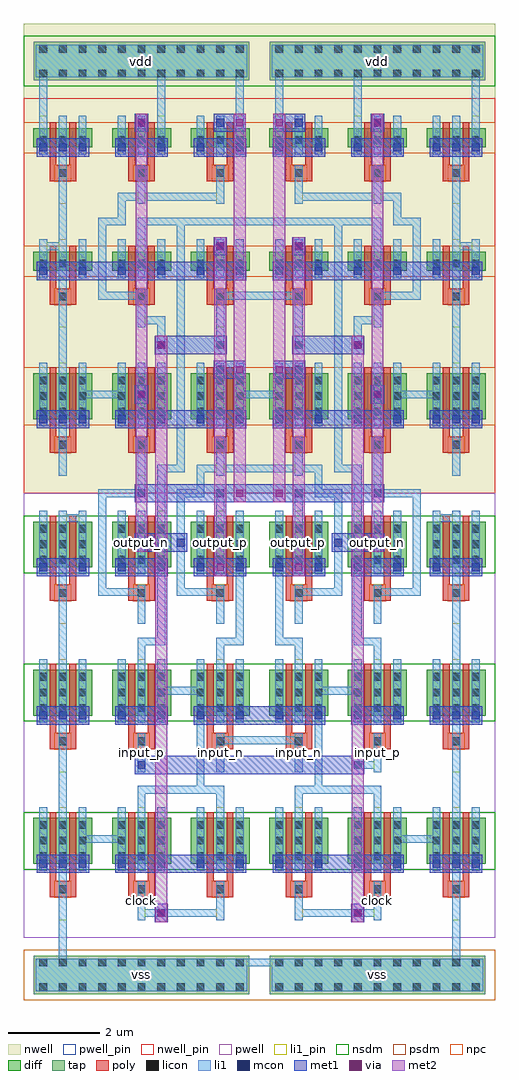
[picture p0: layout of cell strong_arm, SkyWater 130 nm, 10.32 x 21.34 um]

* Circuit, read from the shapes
.subckt strong_arm clock input_n input_p output_n output_p vdd vss
XM1 vss vss vss vss sky130_fd_pr__nfet_01v8 w=1 l=0.15 m=12
XM2 strong_arm_half_0/tail_d clock vss vss sky130_fd_pr__nfet_01v8 w=1 l=0.15 m=8
XM3 strong_arm_half_0/input_d_n input_p strong_arm_half_0/tail_d vss sky130_fd_pr__nfet_01v8 w=1 l=0.15 m=4
XM4 output_n output_p strong_arm_half_0/input_d_n vss sky130_fd_pr__nfet_01v8 w=1 l=0.15 m=4
XM5 strong_arm_half_0/input_d_p input_n strong_arm_half_0/tail_d vss sky130_fd_pr__nfet_01v8 w=1 l=0.15 m=2
XM6 output_p output_n strong_arm_half_0/input_d_p vss sky130_fd_pr__nfet_01v8 w=1 l=0.15 m=2
XM7 strong_arm_half_1/input_d_p input_n strong_arm_half_0/tail_d vss sky130_fd_pr__nfet_01v8 w=1 l=0.15 m=2
XM8 output_p output_n strong_arm_half_1/input_d_p vss sky130_fd_pr__nfet_01v8 w=1 l=0.15 m=2
XM9 vdd vdd vdd vdd sky130_fd_pr__pfet_01v8 w=1 l=0.15 m=4
XM10 vdd vdd vdd vdd sky130_fd_pr__pfet_01v8 w=0.42 l=0.15 m=8
XM11 output_n output_p vdd vdd sky130_fd_pr__pfet_01v8 w=1 l=0.15 m=4
XM12 strong_arm_half_0/input_d_n clock vdd vdd sky130_fd_pr__pfet_01v8 w=0.42 l=0.15 m=4
XM13 output_n clock vdd vdd sky130_fd_pr__pfet_01v8 w=0.42 l=0.15 m=4
XM14 output_p output_n vdd vdd sky130_fd_pr__pfet_01v8 w=1 l=0.15 m=4
XM15 strong_arm_half_0/input_d_p clock vdd vdd sky130_fd_pr__pfet_01v8 w=0.42 l=0.15 m=2
XM16 output_p clock vdd vdd sky130_fd_pr__pfet_01v8 w=0.42 l=0.15 m=4
XM17 strong_arm_half_1/input_d_p clock vdd vdd sky130_fd_pr__pfet_01v8 w=0.42 l=0.15 m=2
.ends

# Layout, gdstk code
from math import pi, radians
import gdstk
lib = gdstk.Library(unit=1e-6, precision=1e-09)
def R(c, l, rs):  # rectangles x0, y0, x1, y1
    for r in rs: c.add(gdstk.rectangle(r[:2], r[2:], *l))
def A(c, l, x, y, w, h, nx, ny, dx, dy):  # array of equal rectangles
    R(c, l, [(x+i*dx, y+j*dy, x+i*dx+w, y+j*dy+h) for i in range(nx) for j in range(ny)])
nwell_pin = (64, 16)
nwell = (64, 20)
pwell = (64, 44)
diff = (65, 20)
tap = (65, 44)
poly = (66, 20)
licon = (66, 44)
li1_pin = (67, 16)
li1 = (67, 20)
mcon = (67, 44)
met1 = (68, 20)
via = (68, 44)
met2 = (69, 20)
nsdm = (93, 44)
psdm = (94, 20)
npc = (95, 20)
pwell_pin = (122, 16)

ptap_tile_x11_y2 = lib.new_cell('ptap_tile_x11_y2')
R(ptap_tile_x11_y2, tap, [(-0.205,-0.15,4.505,0.69)])
A(ptap_tile_x11_y2, licon, -0.085, -0.085, 0.17, 0.17, 11, 2, 0.43, 0.54)
R(ptap_tile_x11_y2, li1_pin, [(-0.165,-0.085,4.465,0.625)])
R(ptap_tile_x11_y2, li1, [(-0.165,-0.085,4.465,0.625)])
R(ptap_tile_x11_y2, psdm, [(-0.43,-0.28,4.73,0.82)])
ptap_tile_x11_y2.add(gdstk.Label('vnb', (2.15,0.27), layer=67, texttype=5))

ptap_tile = lib.new_cell('ptap_tile')
R(ptap_tile, li1_pin, [(-0.165,-0.085,4.465,0.625)])
ptap_tile.add(gdstk.Reference(ptap_tile_x11_y2, (0,0)))
ptap_tile.add(gdstk.Label('x', (2.15,0.27), layer=67, texttype=5))

ntap_tile_x11_y2 = lib.new_cell('ntap_tile_x11_y2')
R(ntap_tile_x11_y2, nwell, [(-0.43,-0.54,4.73,1.08)])
R(ntap_tile_x11_y2, tap, [(-0.205,-0.15,4.505,0.69)])
A(ntap_tile_x11_y2, licon, -0.085, -0.085, 0.17, 0.17, 11, 2, 0.43, 0.54)
R(ntap_tile_x11_y2, li1_pin, [(-0.165,-0.085,4.465,0.625)])
R(ntap_tile_x11_y2, li1, [(-0.165,-0.085,4.465,0.625)])
R(ntap_tile_x11_y2, nsdm, [(-0.43,-0.28,4.73,0.82)])
ntap_tile_x11_y2.add(gdstk.Label('vpb', (2.15,0.27), layer=67, texttype=5))

ntap_tile = lib.new_cell('ntap_tile')
R(ntap_tile, li1_pin, [(-0.165,-0.085,4.465,0.625)])
ntap_tile.add(gdstk.Reference(ntap_tile_x11_y2, (0,0)))
ntap_tile.add(gdstk.Label('x', (2.15,0.27), layer=67, texttype=5))

nmos_tile_w1000_l150_nf2 = lib.new_cell('nmos_tile_w1000_l150_nf2')
R(nmos_tile_w1000_l150_nf2, pwell, [(0,-1.62,1.72,1.62)])
R(nmos_tile_w1000_l150_nf2, diff, [(0.215,0,1.505,1)])
R(nmos_tile_w1000_l150_nf2, poly, [(0.57,-0.735,0.945,-0.385), (0.57,-0.735,0.72,1.13), (0.775,-0.735,1.15,-0.385), (1,-0.735,1.15,1.13)])
A(nmos_tile_w1000_l150_nf2, licon, 0.345, 0.08, 0.17, 0.17, 3, 3, 0.43, 0.34)
R(nmos_tile_w1000_l150_nf2, licon, [(0.775,-0.645,0.945,-0.475)])
A(nmos_tile_w1000_l150_nf2, li1_pin, 0.345, -0.155, 0.17, 1.39, 3, 1, 0.43, 0)
R(nmos_tile_w1000_l150_nf2, li1_pin, [(0.775,-1.235,0.945,-0.385)])
A(nmos_tile_w1000_l150_nf2, li1, 0.345, -0.155, 0.17, 1.39, 3, 1, 0.43, 0)
R(nmos_tile_w1000_l150_nf2, li1, [(0.775,-1.235,0.945,-0.385)])
R(nmos_tile_w1000_l150_nf2, nsdm, [(0,-0.13,1.72,1.13)])
R(nmos_tile_w1000_l150_nf2, npc, [(0.675,-0.745,1.045,-0.375)])
R(nmos_tile_w1000_l150_nf2, pwell_pin, [(0,-1.62,1.72,1.62)])
nmos_tile_w1000_l150_nf2.add(gdstk.Label('sd_0', (0.43,0.54), layer=67, texttype=5))
nmos_tile_w1000_l150_nf2.add(gdstk.Label('sd_1', (0.86,0.54), layer=67, texttype=5))
nmos_tile_w1000_l150_nf2.add(gdstk.Label('sd_2', (1.29,0.54), layer=67, texttype=5))
nmos_tile_w1000_l150_nf2.add(gdstk.Label('g_0', (0.86,-0.81), layer=67, texttype=5))
nmos_tile_w1000_l150_nf2.add(gdstk.Label('b', (0.86,0), layer=64, texttype=59))

two_finger_mos_tile = lib.new_cell('two_finger_mos_tile')
A(two_finger_mos_tile, li1_pin, 0.345, -0.155, 0.17, 1.39, 3, 1, 0.43, 0)
R(two_finger_mos_tile, li1_pin, [(0.775,-1.235,0.945,-0.385)])
R(two_finger_mos_tile, li1, [(0.345,-0.085,0.515,0.085), (0.345,-0.085,0.515,0.085), (1.205,-0.085,1.375,0.085), (1.205,-0.085,1.375,0.085)])
R(two_finger_mos_tile, mcon, [(0.345,-0.085,0.515,0.085), (1.205,-0.085,1.375,0.085)])
R(two_finger_mos_tile, met1, [(0.285,-0.2,0.575,0.2), (0.345,-0.2,0.945,0.2), (0.775,-0.2,1.375,0.2), (1.145,-0.2,1.435,0.2)])
R(two_finger_mos_tile, pwell_pin, [(0,-1.62,1.72,1.62)])
two_finger_mos_tile.add(gdstk.Reference(nmos_tile_w1000_l150_nf2, (0,0)))
two_finger_mos_tile.add(gdstk.Label('d', (0.86,0.54), layer=67, texttype=5))
two_finger_mos_tile.add(gdstk.Label('g', (0.86,-0.81), layer=67, texttype=5))
two_finger_mos_tile.add(gdstk.Label('s', (1.29,0.54), layer=67, texttype=5))
two_finger_mos_tile.add(gdstk.Label('s', (0.43,0.54), layer=67, texttype=5))
two_finger_mos_tile.add(gdstk.Label('b', (0.86,0), layer=64, texttype=59))

pmos_tile_w1000_l150_nf2 = lib.new_cell('pmos_tile_w1000_l150_nf2')
R(pmos_tile_w1000_l150_nf2, nwell_pin, [(0,-1.62,1.72,1.62)])
R(pmos_tile_w1000_l150_nf2, nwell, [(0,-1.62,1.72,1.62)])
R(pmos_tile_w1000_l150_nf2, diff, [(0.215,0,1.505,1)])
R(pmos_tile_w1000_l150_nf2, poly, [(0.57,-0.735,0.945,-0.385), (0.57,-0.735,0.72,1.13), (0.775,-0.735,1.15,-0.385), (1,-0.735,1.15,1.13)])
A(pmos_tile_w1000_l150_nf2, licon, 0.345, 0.08, 0.17, 0.17, 3, 3, 0.43, 0.34)
R(pmos_tile_w1000_l150_nf2, licon, [(0.775,-0.645,0.945,-0.475)])
A(pmos_tile_w1000_l150_nf2, li1_pin, 0.345, -0.155, 0.17, 1.39, 3, 1, 0.43, 0)
R(pmos_tile_w1000_l150_nf2, li1_pin, [(0.775,-1.235,0.945,-0.385)])
A(pmos_tile_w1000_l150_nf2, li1, 0.345, -0.155, 0.17, 1.39, 3, 1, 0.43, 0)
R(pmos_tile_w1000_l150_nf2, li1, [(0.775,-1.235,0.945,-0.385)])
R(pmos_tile_w1000_l150_nf2, psdm, [(0,-0.13,1.72,1.13)])
R(pmos_tile_w1000_l150_nf2, npc, [(0.675,-0.745,1.045,-0.375)])
pmos_tile_w1000_l150_nf2.add(gdstk.Label('sd_0', (0.43,0.54), layer=67, texttype=5))
pmos_tile_w1000_l150_nf2.add(gdstk.Label('sd_1', (0.86,0.54), layer=67, texttype=5))
pmos_tile_w1000_l150_nf2.add(gdstk.Label('sd_2', (1.29,0.54), layer=67, texttype=5))
pmos_tile_w1000_l150_nf2.add(gdstk.Label('g_0', (0.86,-0.81), layer=67, texttype=5))
pmos_tile_w1000_l150_nf2.add(gdstk.Label('b', (0.86,0), layer=64, texttype=5))

two_finger_mos_tile_1 = lib.new_cell('two_finger_mos_tile_1')
R(two_finger_mos_tile_1, nwell_pin, [(0,-1.62,1.72,1.62)])
A(two_finger_mos_tile_1, li1_pin, 0.345, -0.155, 0.17, 1.39, 3, 1, 0.43, 0)
R(two_finger_mos_tile_1, li1_pin, [(0.775,-1.235,0.945,-0.385)])
R(two_finger_mos_tile_1, li1, [(0.345,-0.085,0.515,0.085), (0.345,-0.085,0.515,0.085), (1.205,-0.085,1.375,0.085), (1.205,-0.085,1.375,0.085)])
R(two_finger_mos_tile_1, mcon, [(0.345,-0.085,0.515,0.085), (1.205,-0.085,1.375,0.085)])
R(two_finger_mos_tile_1, met1, [(0.285,-0.2,0.575,0.2), (0.345,-0.2,0.945,0.2), (0.775,-0.2,1.375,0.2), (1.145,-0.2,1.435,0.2)])
two_finger_mos_tile_1.add(gdstk.Reference(pmos_tile_w1000_l150_nf2, (0,0)))
two_finger_mos_tile_1.add(gdstk.Label('d', (0.86,0.54), layer=67, texttype=5))
two_finger_mos_tile_1.add(gdstk.Label('g', (0.86,-0.81), layer=67, texttype=5))
two_finger_mos_tile_1.add(gdstk.Label('s', (1.29,0.54), layer=67, texttype=5))
two_finger_mos_tile_1.add(gdstk.Label('s', (0.43,0.54), layer=67, texttype=5))
two_finger_mos_tile_1.add(gdstk.Label('b', (0.86,0), layer=64, texttype=5))

pmos_tile_w420_l150_nf2 = lib.new_cell('pmos_tile_w420_l150_nf2')
R(pmos_tile_w420_l150_nf2, nwell_pin, [(0,-1.62,1.72,1.08)])
R(pmos_tile_w420_l150_nf2, nwell, [(0,-1.62,1.72,1.08)])
R(pmos_tile_w420_l150_nf2, diff, [(0.215,0,1.505,0.42)])
R(pmos_tile_w420_l150_nf2, poly, [(0.57,-0.735,0.945,-0.385), (0.57,-0.735,0.72,0.55), (0.775,-0.735,1.15,-0.385), (1,-0.735,1.15,0.55)])
A(pmos_tile_w420_l150_nf2, licon, 0.345, 0.08, 0.17, 0.17, 3, 1, 0.43, 0)
R(pmos_tile_w420_l150_nf2, licon, [(0.775,-0.645,0.945,-0.475)])
A(pmos_tile_w420_l150_nf2, li1_pin, 0.345, -0.155, 0.17, 0.85, 3, 1, 0.43, 0)
R(pmos_tile_w420_l150_nf2, li1_pin, [(0.775,-1.235,0.945,-0.385)])
A(pmos_tile_w420_l150_nf2, li1, 0.345, -0.155, 0.17, 0.85, 3, 1, 0.43, 0)
R(pmos_tile_w420_l150_nf2, li1, [(0.775,-1.235,0.945,-0.385)])
R(pmos_tile_w420_l150_nf2, psdm, [(0,-0.13,1.72,0.55)])
R(pmos_tile_w420_l150_nf2, npc, [(0.675,-0.745,1.045,-0.375)])
pmos_tile_w420_l150_nf2.add(gdstk.Label('sd_0', (0.43,0.27), layer=67, texttype=5))
pmos_tile_w420_l150_nf2.add(gdstk.Label('sd_1', (0.86,0.27), layer=67, texttype=5))
pmos_tile_w420_l150_nf2.add(gdstk.Label('sd_2', (1.29,0.27), layer=67, texttype=5))
pmos_tile_w420_l150_nf2.add(gdstk.Label('g_0', (0.86,-0.81), layer=67, texttype=5))
pmos_tile_w420_l150_nf2.add(gdstk.Label('b', (0.86,-0.27), layer=64, texttype=5))

two_finger_mos_tile_2 = lib.new_cell('two_finger_mos_tile_2')
R(two_finger_mos_tile_2, nwell_pin, [(0,-1.62,1.72,1.08)])
A(two_finger_mos_tile_2, li1_pin, 0.345, -0.155, 0.17, 0.85, 3, 1, 0.43, 0)
R(two_finger_mos_tile_2, li1_pin, [(0.775,-1.235,0.945,-0.385)])
R(two_finger_mos_tile_2, li1, [(0.345,-0.085,0.515,0.085), (0.345,-0.085,0.515,0.085), (1.205,-0.085,1.375,0.085), (1.205,-0.085,1.375,0.085)])
R(two_finger_mos_tile_2, mcon, [(0.345,-0.085,0.515,0.085), (1.205,-0.085,1.375,0.085)])
R(two_finger_mos_tile_2, met1, [(0.285,-0.2,0.575,0.2), (0.345,-0.2,0.945,0.2), (0.775,-0.2,1.375,0.2), (1.145,-0.2,1.435,0.2)])
two_finger_mos_tile_2.add(gdstk.Reference(pmos_tile_w420_l150_nf2, (0,0)))
two_finger_mos_tile_2.add(gdstk.Label('d', (0.86,0.27), layer=67, texttype=5))
two_finger_mos_tile_2.add(gdstk.Label('g', (0.86,-0.81), layer=67, texttype=5))
two_finger_mos_tile_2.add(gdstk.Label('s', (1.29,0.27), layer=67, texttype=5))
two_finger_mos_tile_2.add(gdstk.Label('s', (0.43,0.27), layer=67, texttype=5))
two_finger_mos_tile_2.add(gdstk.Label('b', (0.86,-0.27), layer=64, texttype=5))

strong_arm_half = lib.new_cell('strong_arm_half')
A(strong_arm_half, li1_pin, 2.065, -17.435, 0.17, 1.39, 1, 3, 0, 3.24)
R(strong_arm_half, li1_pin, [(-0.165,-20.065,4.465,-19.355), (2.065,-18.515,2.235,-17.665), (2.065,-15.275,2.235,-14.425), (3.785,-15.275,3.955,-14.425), (3.785,-14.195,3.955,-12.805), (3.785,-10.955,3.955,-9.565), (-0.165,-0.085,4.465,0.625)])
A(strong_arm_half, li1, 2.065, -18.445, 0.6, 0.17, 4, 2, 0.43, 2.7)
A(strong_arm_half, li1, 0.345, -16.285, 0.17, 0.71, 3, 2, 1.72, 3.24)
A(strong_arm_half, li1, 3.355, -15.745, 0.17, 0.71, 1, 3, 0, 0.54)
A(strong_arm_half, li1, 2.925, -13.585, 0.6, 0.17, 1, 3, 0, 2.16)
A(strong_arm_half, li1, 2.495, -12.505, 0.17, 0.71, 1, 3, 0, 0.54)
A(strong_arm_half, li1, 4.215, -12.505, 0.17, 0.71, 1, 3, 0, 0.54)
A(strong_arm_half, li1, 1.205, -11.425, 0.17, 0.71, 1, 4, 0, 0.54)
A(strong_arm_half, li1, 1.205, -11.425, 0.6, 0.17, 1, 4, 0, 2.16)
A(strong_arm_half, li1, 2.925, -11.425, 0.17, 0.71, 1, 4, 0, 0.54)
A(strong_arm_half, li1, 2.925, -8.725, 0.17, 0.71, 1, 9, 0, 0.54)
A(strong_arm_half, li1, 0.345, -3.865, 0.17, 0.71, 4, 1, 0.86, 0)
A(strong_arm_half, li1, 1.635, -2.785, 0.6, 0.17, 5, 1, 0.43, 0)
R(strong_arm_half, li1, [(0.345,-19.525,0.515,-18.815), (0.345,-18.985,0.515,-18.275), (2.495,-18.445,2.665,-18.275), (2.495,-18.445,2.665,-18.275), (0.345,-17.905,0.515,-17.195), (0.345,-17.365,0.515,-17.195), (0.345,-17.365,0.515,-17.195), (0.775,-16.825,1.375,-16.655), (1.205,-16.825,1.805,-16.655), (0.345,-15.745,0.515,-15.035), (0.345,-14.665,0.515,-13.955), (0.345,-14.125,0.515,-13.955), (0.345,-14.125,0.515,-13.955), (2.495,-13.585,3.095,-13.415), (0.345,-12.505,0.515,-11.795), (2.065,-12.505,2.665,-12.335), (3.785,-12.505,4.385,-12.335), (0.345,-11.425,0.515,-10.715), (1.635,-11.425,2.235,-11.255), (3.355,-11.425,3.955,-11.255), (2.065,-10.345,2.235,-10.175), (2.065,-10.345,2.235,-10.175), (2.925,-10.345,3.095,-10.175), (2.925,-10.345,3.095,-10.175), (0.345,-9.805,0.945,-9.635), (2.495,-9.805,2.665,-9.095), (3.785,-9.805,3.955,-9.095), (1.635,-9.265,2.235,-9.095), (2.065,-9.265,2.235,-8.555), (2.065,-9.265,2.235,-9.095), (2.065,-9.265,2.235,-9.095), (2.495,-9.265,2.665,-8.555), (3.355,-9.265,3.525,-8.555), (3.785,-9.265,3.955,-9.095), (3.785,-9.265,3.955,-9.095), (2.495,-8.725,3.095,-8.555), (3.355,-8.725,3.955,-8.555), (0.345,-8.185,0.515,-7.475), (0.345,-7.645,0.515,-7.475), (0.345,-7.645,0.515,-7.475), (0.775,-7.105,1.375,-6.935), (2.065,-7.105,2.235,-6.935), (2.065,-7.105,2.235,-6.935), (0.345,-6.565,0.515,-5.855), (3.785,-6.565,3.955,-6.395), (3.785,-6.565,3.955,-6.395), (0.345,-6.025,0.515,-5.315), (2.495,-6.025,2.665,-5.315), (2.495,-6.025,2.665,-5.855), (2.495,-6.025,2.665,-5.855), (3.785,-6.025,3.955,-5.315), (3.785,-6.025,3.955,-5.855), (3.785,-6.025,3.955,-5.855), (2.065,-5.485,2.665,-5.315), (0.345,-4.945,0.515,-4.235), (1.205,-4.945,1.375,-4.235), (1.635,-4.945,2.235,-4.775), (1.205,-4.405,1.375,-3.695), (-0.085,-3.865,0.515,-3.695), (3.785,-3.865,3.955,-3.695), (3.785,-3.865,3.955,-3.695), (0.345,-3.325,0.515,-2.615), (1.205,-3.325,1.805,-3.155), (1.635,-3.325,1.805,-2.615), (2.065,-3.325,2.665,-3.155), (2.495,-3.325,3.095,-3.155), (0.345,-2.245,0.515,-1.535), (0.345,-1.705,0.515,-1.535), (0.345,-1.705,0.515,-1.535), (-0.085,-1.165,0.085,-0.455), (2.065,-1.165,2.235,-0.995), (2.065,-1.165,2.235,-0.995), (2.495,-1.165,2.665,-0.455), (3.785,-1.165,3.955,-0.995), (3.785,-1.165,3.955,-0.995), (4.215,-1.165,4.385,-0.455), (-0.085,-0.625,0.085,0.085), (2.495,-0.625,2.665,0.085), (4.215,-0.625,4.385,0.085)])
R(strong_arm_half, mcon, [(2.495,-18.445,2.665,-18.275), (0.345,-17.365,0.515,-17.195), (0.345,-14.125,0.515,-13.955), (2.065,-10.345,2.235,-10.175), (2.925,-10.345,3.095,-10.175), (2.065,-9.265,2.235,-9.095), (3.785,-9.265,3.955,-9.095), (0.345,-7.645,0.515,-7.475), (2.065,-7.105,2.235,-6.935), (3.785,-6.565,3.955,-6.395), (2.495,-6.025,2.665,-5.855), (3.785,-6.025,3.955,-5.855), (3.785,-3.865,3.955,-3.695), (0.345,-1.705,0.515,-1.535), (2.065,-1.165,2.235,-0.995), (3.785,-1.165,3.955,-0.995)])
A(strong_arm_half, met1, 2.065, -9.38, 0.6, 0.4, 5, 1, 0.43, 0)
A(strong_arm_half, met1, 2.495, -6.14, 0.6, 0.4, 3, 1, 0.43, 0)
R(strong_arm_half, met1, [(2.435,-18.56,2.725,-18.16), (2.45,-18.56,2.71,-18.16), (2.495,-18.56,2.665,-18.16), (0.285,-17.48,0.575,-17.08), (2.495,-17.48,3.095,-17.08), (2.925,-17.48,3.525,-17.08), (0.285,-14.24,0.575,-13.84), (3.74,-11,4,-10.6), (3.785,-11,3.955,-10.6), (2.005,-10.46,2.295,-10.06), (2.02,-10.46,2.28,-10.06), (2.065,-10.46,2.665,-10.06), (2.065,-10.46,2.235,-10.06), (2.495,-10.46,3.095,-10.06), (2.865,-10.46,3.155,-10.06), (2.005,-9.38,2.295,-8.98), (3.725,-9.38,4.015,-8.98), (4.17,-9.38,4.43,-8.98), (4.215,-9.38,4.385,-8.98), (0.285,-7.76,0.575,-7.36), (2.495,-7.76,3.095,-7.36), (2.925,-7.76,3.525,-7.36), (2.005,-7.22,2.295,-6.82), (2.02,-7.22,2.28,-6.82), (2.065,-7.22,2.235,-6.82), (3.725,-6.68,4.015,-6.28), (3.785,-6.68,4.385,-6.28), (4.17,-6.68,4.43,-6.28), (4.215,-6.68,4.385,-6.28), (2.435,-6.14,2.725,-5.74), (2.45,-6.14,2.71,-5.74), (2.495,-6.14,2.665,-5.74), (3.725,-6.14,4.015,-5.74), (0.775,-4.52,1.375,-4.12), (1.205,-4.52,1.805,-4.12), (2.495,-4.52,3.095,-4.12), (2.925,-4.52,3.525,-4.12), (3.725,-3.98,4.015,-3.58), (3.74,-3.98,4,-3.58), (3.785,-3.98,3.955,-3.58), (0.285,-1.82,0.575,-1.42), (2.005,-1.28,2.295,-0.88), (2.02,-1.28,2.28,-0.88), (2.065,-1.28,2.235,-0.88), (3.725,-1.28,4.015,-0.88), (3.785,-1.28,4.385,-0.88), (4.17,-1.28,4.43,-0.88), (4.215,-1.28,4.385,-0.88)])
R(strong_arm_half, via, [(2.505,-18.435,2.655,-18.285), (3.795,-10.875,3.945,-10.725), (2.075,-10.335,2.225,-10.185), (4.225,-9.255,4.375,-9.105), (2.075,-7.095,2.225,-6.945), (4.225,-6.555,4.375,-6.405), (2.505,-6.015,2.655,-5.865), (3.795,-3.855,3.945,-3.705), (2.075,-1.155,2.225,-1.005), (4.225,-1.155,4.375,-1.005)])
A(strong_arm_half, met2, 2.45, -18.49, 0.26, 0.8, 1, 23, 0, 0.54)
A(strong_arm_half, met2, 3.74, -10.93, 0.26, 0.8, 1, 13, 0, 0.54)
A(strong_arm_half, met2, 2.02, -10.39, 0.26, 0.8, 1, 17, 0, 0.54)
A(strong_arm_half, met2, 4.17, -9.31, 0.26, 0.8, 1, 15, 0, 0.54)
R(strong_arm_half, met2, [(2.45,-18.56,2.71,-18.16), (3.74,-11,4,-10.6), (2.02,-10.46,2.28,-10.06), (4.17,-9.38,4.43,-8.98), (2.02,-7.22,2.28,-6.82), (4.17,-6.68,4.43,-6.28), (2.45,-6.14,2.71,-5.74), (3.74,-3.98,4,-3.58), (2.02,-1.28,2.28,-0.88), (4.17,-1.28,4.43,-0.88)])
strong_arm_half.add(gdstk.Reference(ptap_tile, (0,-19.98)))
strong_arm_half.add(gdstk.Reference(ntap_tile, (0,0)))
strong_arm_half.add(gdstk.Reference(two_finger_mos_tile, (1.29,-17.28)))
strong_arm_half.add(gdstk.Reference(two_finger_mos_tile, (3.01,-17.28)))
strong_arm_half.add(gdstk.Reference(two_finger_mos_tile, (-0.43,-17.28)))
strong_arm_half.add(gdstk.Reference(two_finger_mos_tile, (1.29,-14.04)))
strong_arm_half.add(gdstk.Reference(two_finger_mos_tile, (3.01,-14.04)))
strong_arm_half.add(gdstk.Reference(two_finger_mos_tile, (-0.43,-14.04)))
strong_arm_half.add(gdstk.Reference(two_finger_mos_tile, (1.29,-10.8)))
strong_arm_half.add(gdstk.Reference(two_finger_mos_tile, (3.01,-10.8)))
strong_arm_half.add(gdstk.Reference(two_finger_mos_tile, (-0.43,-10.8)))
strong_arm_half.add(gdstk.Reference(two_finger_mos_tile_1, (1.29,-7.56)))
strong_arm_half.add(gdstk.Reference(two_finger_mos_tile_1, (3.01,-7.56)))
strong_arm_half.add(gdstk.Reference(two_finger_mos_tile_1, (-0.43,-7.56)))
strong_arm_half.add(gdstk.Reference(two_finger_mos_tile_2, (1.29,-1.62)))
strong_arm_half.add(gdstk.Reference(two_finger_mos_tile_2, (3.01,-1.62)))
strong_arm_half.add(gdstk.Reference(two_finger_mos_tile_2, (-0.43,-1.62)))
strong_arm_half.add(gdstk.Reference(two_finger_mos_tile_2, (1.29,-4.32)))
strong_arm_half.add(gdstk.Reference(two_finger_mos_tile_2, (3.01,-4.32)))
strong_arm_half.add(gdstk.Reference(two_finger_mos_tile_2, (-0.43,-4.32)))
strong_arm_half.add(gdstk.Label('top_io_input_p', (2.15,-14.85), layer=67, texttype=5))
strong_arm_half.add(gdstk.Label('top_io_input_n', (3.87,-14.85), layer=67, texttype=5))
strong_arm_half.add(gdstk.Label('top_io_output_p', (3.87,-10.26), layer=67, texttype=5))
strong_arm_half.add(gdstk.Label('top_io_output_n', (2.15,-10.26), layer=67, texttype=5))
strong_arm_half.add(gdstk.Label('top_io_clock', (2.15,-18.09), layer=67, texttype=5))
strong_arm_half.add(gdstk.Label('top_io_vdd', (2.15,0.27), layer=67, texttype=5))
strong_arm_half.add(gdstk.Label('top_io_vss', (2.15,-19.71), layer=67, texttype=5))
strong_arm_half.add(gdstk.Label('input_d_p', (3.87,-13.5), layer=67, texttype=5))
strong_arm_half.add(gdstk.Label('input_d_n', (2.15,-13.5), layer=67, texttype=5))
strong_arm_half.add(gdstk.Label('tail_d', (2.15,-16.74), layer=67, texttype=5))

strong_arm = lib.new_cell('strong_arm')
A(strong_arm, li1_pin, 2.065, -15.275, 0.17, 0.85, 4, 1, 1.72, 0)
A(strong_arm, li1_pin, 2.065, -10.955, 0.17, 1.39, 4, 1, 1.72, 0)
R(strong_arm, li1_pin, [(-0.165,-20.065,4.465,-19.355), (4.995,-20.065,9.625,-19.355), (2.065,-18.515,2.235,-17.665), (7.225,-18.515,7.395,-17.665), (-0.165,-0.085,4.465,0.625), (4.995,-0.085,9.625,0.625)])
A(strong_arm, li1, 3.785, -14.665, 0.6, 0.17, 4, 2, 0.43, 5.94)
A(strong_arm, li1, 3.785, -4.945, 0.6, 0.17, 4, 1, 0.43, 0)
A(strong_arm, li1, 2.925, -3.325, 0.6, 0.17, 8, 1, 0.43, 0)
R(strong_arm, li1, [(4.215,-19.525,4.815,-19.355), (4.645,-19.525,5.245,-19.355), (2.065,-15.205,2.235,-15.035), (2.065,-15.205,2.235,-15.035), (6.795,-15.205,7.395,-15.035), (6.795,-15.205,6.965,-15.035), (6.795,-15.205,6.965,-15.035), (4.215,-7.105,4.815,-6.935), (4.645,-7.105,5.245,-6.935)])
R(strong_arm, mcon, [(2.065,-15.205,2.235,-15.035), (6.795,-15.205,6.965,-15.035)])
A(strong_arm, met1, 2.065, -15.32, 0.6, 0.4, 11, 1, 0.43, 0)
R(strong_arm, met1, [(2.005,-15.32,2.295,-14.92), (6.735,-15.32,7.025,-14.92), (4.215,-14.24,4.815,-13.84), (4.645,-14.24,5.245,-13.84), (4.215,-9.38,4.815,-8.98), (4.645,-9.38,5.245,-8.98)])
strong_arm.add(gdstk.Reference(strong_arm_half, (0,0)))
strong_arm.add(gdstk.Reference(strong_arm_half, (9.46,0), rotation=pi, x_reflection=True))
strong_arm.add(gdstk.Label('input_p', (7.31,-14.85), layer=67, texttype=5))
strong_arm.add(gdstk.Label('input_p', (2.15,-14.85), layer=67, texttype=5))
strong_arm.add(gdstk.Label('input_n', (5.59,-14.85), layer=67, texttype=5))
strong_arm.add(gdstk.Label('input_n', (3.87,-14.85), layer=67, texttype=5))
strong_arm.add(gdstk.Label('output_p', (5.59,-10.26), layer=67, texttype=5))
strong_arm.add(gdstk.Label('output_p', (3.87,-10.26), layer=67, texttype=5))
strong_arm.add(gdstk.Label('output_n', (7.31,-10.26), layer=67, texttype=5))
strong_arm.add(gdstk.Label('output_n', (2.15,-10.26), layer=67, texttype=5))
strong_arm.add(gdstk.Label('clock', (7.31,-18.09), layer=67, texttype=5))
strong_arm.add(gdstk.Label('clock', (2.15,-18.09), layer=67, texttype=5))
strong_arm.add(gdstk.Label('vdd', (7.31,0.27), layer=67, texttype=5))
strong_arm.add(gdstk.Label('vdd', (2.15,0.27), layer=67, texttype=5))
strong_arm.add(gdstk.Label('vss', (7.31,-19.71), layer=67, texttype=5))
strong_arm.add(gdstk.Label('vss', (2.15,-19.71), layer=67, texttype=5))

lib.write_gds('strong_arm.gds')
